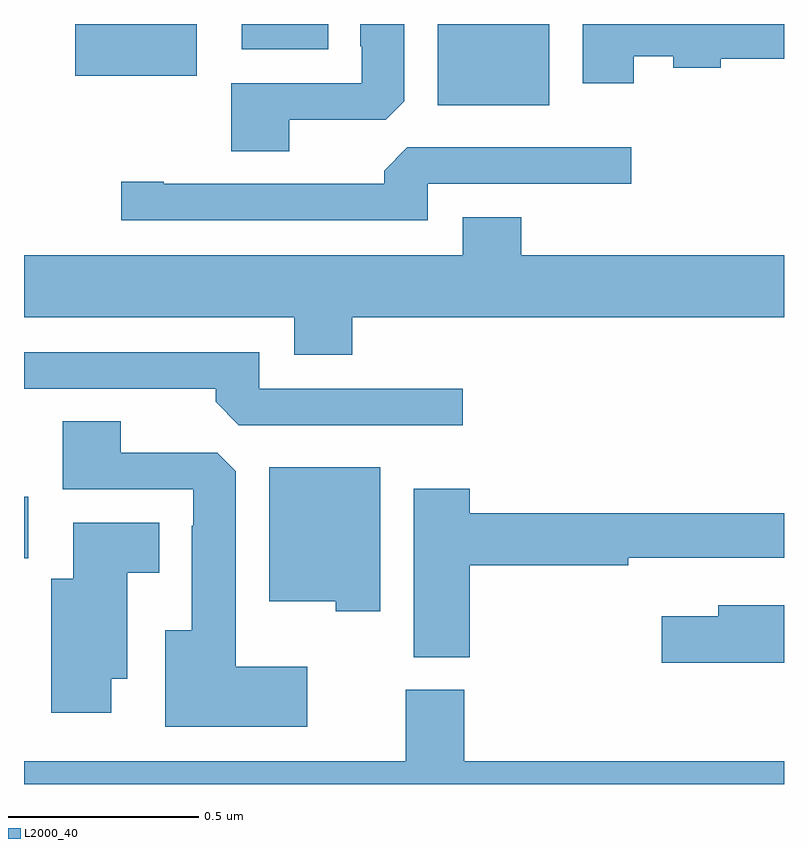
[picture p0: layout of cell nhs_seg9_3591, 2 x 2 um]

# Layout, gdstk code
import gdstk
lib = gdstk.Library(unit=1e-6, precision=1e-09)
def R(c, l, rs):  # rectangles x0, y0, x1, y1
    for r in rs: c.add(gdstk.rectangle(r[:2], r[2:], *l))
def P(c, l, *ps):  # polygons
    for p in ps: c.add(gdstk.Polygon(p, *l))
L2000_40 = (2000, 40)

nhs_seg9_3591 = lib.new_cell('nhs_seg9_3591')
R(nhs_seg9_3591, L2000_40, [(155,1221.094,155.011,1221.256), (156.089,1222.286,156.382,1222.5), (155.135,1222.364,155.455,1222.5), (155.573,1222.433,155.8,1222.5)])
P(nhs_seg9_3591, L2000_40, [(155.698,1222.248),(155.952,1222.248),(156.001,1222.297),(156.001,1222.5),(155.885,1222.5),(155.885,1222.441),(155.889,1222.441),(155.889,1222.344),(155.546,1222.344),(155.546,1222.165),(155.698,1222.165)],
  [(156.604,1222.415),(156.708,1222.415),(156.708,1222.385),(156.834,1222.385),(156.834,1222.408),(157,1222.408),(157,1222.5),(156.47,1222.5),(156.47,1222.344),(156.604,1222.344)],
  [(156.063,1222.08),(156.598,1222.08),(156.598,1222.176),(156.009,1222.176),(155.948,1222.114),(155.948,1222.08),(155.368,1222.08),(155.368,1222.085),(155.256,1222.085),(155.256,1221.984),(156.063,1221.984)],
  [(155.864,1221.728),(157,1221.728),(157,1221.892),(156.308,1221.892),(156.308,1221.991),(156.155,1221.991),(156.155,1221.892),(155,1221.892),(155,1221.728),(155.711,1221.728),(155.711,1221.629),(155.864,1221.629)],
  [(156.154,1221.54),(155.619,1221.54),(155.619,1221.636),(155,1221.636),(155,1221.54),(155.504,1221.54),(155.504,1221.506),(155.565,1221.444),(156.154,1221.444)],
  [(155.746,1220.809),(155.557,1220.809),(155.557,1221.323),(155.508,1221.372),(155.254,1221.372),(155.254,1221.455),(155.102,1221.455),(155.102,1221.276),(155.445,1221.276),(155.445,1221.179),(155.441,1221.179),(155.441,1220.905),(155.372,1220.905),(155.372,1220.651),(155.746,1220.651)],
  [(155.938,1221.334),(155.645,1221.334),(155.645,1220.981),(155.82,1220.981),(155.82,1220.954),(155.938,1220.954)],
  [(156.173,1221.076),(156.59,1221.076),(156.59,1221.096),(157,1221.096),(157,1221.212),(156.173,1221.212),(156.173,1221.277),(156.026,1221.277),(156.026,1220.833),(156.173,1220.833)],
  [(155.23,1220.777),(155.272,1220.777),(155.272,1221.056),(155.356,1221.056),(155.356,1221.187),(155.129,1221.187),(155.129,1221.04),(155.072,1221.04),(155.072,1220.688),(155.23,1220.688)],
  [(157,1220.97),(156.827,1220.97),(156.827,1220.941),(156.678,1220.941),(156.678,1220.819),(157,1220.819)],
  [(157,1220.56),(156.158,1220.56),(156.158,1220.748),(156.005,1220.748),(156.005,1220.56),(155,1220.56),(155,1220.5),(157,1220.5)])

lib.write_gds('nhs_seg9_3591.gds')
